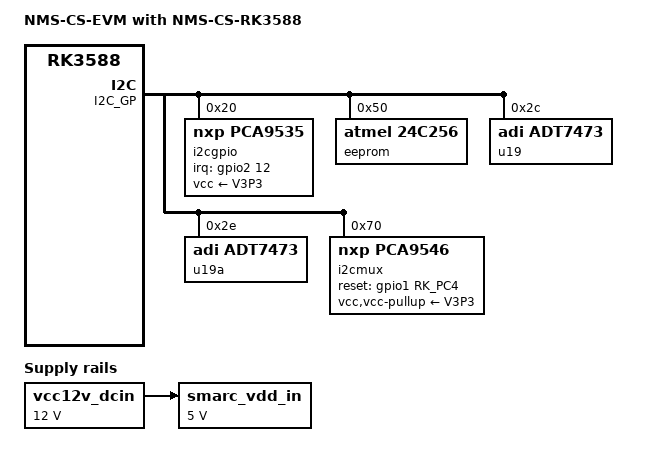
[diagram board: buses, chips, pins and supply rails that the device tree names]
// SPDX-License-Identifier: (GPL-2.0+ OR MIT)
/*
 * Copyright (c) 2023 Rockchip Electronics Co., Ltd.
 * Copyright (c) 2024 InMys Limited
 *
 */

/dts-v1/;

#include "rk3588-inmys-cs_v2.dtsi"

/ {
	model = "NMS-CS-EVM with NMS-CS-RK3588";
	compatible = "inmys,rk3588-cs-evm", "inmys,rk3588-inmys-cs", "rockchip,rk3588";

	vcc12v_dcin: vcc12v-dcin {
		compatible = "regulator-fixed";
		regulator-name = "vcc12v_dcin";
		regulator-always-on;
		regulator-boot-on;
		regulator-min-microvolt = <12000000>;
		regulator-max-microvolt = <12000000>;
	};
	smarc_vdd_in: smarc-vdd-in {
		/* 3.0...5.25V main power input for som(from mother board) */
		compatible = "regulator-fixed";
		regulator-name = "SMARC_VDD_IN";
		regulator-always-on;
		regulator-boot-on;
		regulator-min-microvolt = <5000000>;
		regulator-max-microvolt = <5000000>;
		vin-supply = <&vcc12v_dcin>;
	};
};



/* SMARC: I2C_GP */
&I2C_GP {
	i2cgpio: pca9535@20 {
		compatible = "nxp,pca9535";
		vcc-supply = <&V3P3>;
		reg = <0x20>;

		/* I2C_INT -> P111 (SMARTC  GPIO.3) -> gpio2_b4 */
		interrupt-parent = <&gpio2>;
		interrupts = <12 IRQ_TYPE_LEVEL_LOW>;
		interrupt-controller;
		#interrupt-cells = <2>;

		gpio-controller;
		#gpio-cells = <2>;
		gpio-line-names =
			"DSI0_TP_RST_N","DSI1_TP_RST_N","DSI0_RST_N","DSI1_RST_N","CAM0_PWDN","I2C_GPIO05","I2C_GPIO06","I2C_GPIO07",
			"I2C_GPIO10","I2C_GPIO11","I2C_GPIO12","I2C_GPIO13","I2C_GPIO14","I2C_GPIO15","I2C_GPIO16","I2C_GPIO17";
		cam_pwd {
		        gpio-hog;
		        gpios = <4 GPIO_ACTIVE_HIGH>;
		        output-high;
		};
	};
	eeprom: 24aa025e48@50{
		compatible = "atmel,24c256";
		reg = <0x50>;
	};
	/* one of: 0x2c or 0x2e on board */
        /* fan control */
	u19: adt7473@2c {
		compatible = "adi,adt7473";
		reg = <0x2c>;
		adi,bypass-attenuator-in0 = <1>;
		adi,bypass-attenuator-in1 = <1>;
		adi,bypass-attenuator-in2 = <1>;
		adi,bypass-attenuator-in3 = <1>;
		adi,pwm-active-state = <1 1 1>;
	};
        /* fan control2*/
	u19a: adt7473@2e {
		compatible = "adi,adt7473";
		reg = <0x2e>;
		adi,bypass-attenuator-in0 = <1>;
		adi,bypass-attenuator-in1 = <1>;
		adi,bypass-attenuator-in2 = <1>;
		adi,bypass-attenuator-in3 = <1>;
		adi,pwm-active-state = <1 1 1>;
	};

	i2cmux: pca9546a@70 {
		compatible = "nxp,pca9546";
		reg = <0x70>;
		#address-cells = <1>;
		#size-cells = <0>;
		vcc-supply = <&V3P3>;
		vcc-pullup-supply = <&V3P3>;
 
		/* gpio1_c4 -> P108 (SMARC GPIO.0) -> I2C_MUX_RST */
		reset-gpios = <&gpio1 RK_PC4 GPIO_ACTIVE_HIGH>;
		
		i2c@0 { /*I2C_DSI1 -> to X25*/
			reg = <0>;
			#address-cells = <1>; 
			#size-cells = <0>;
		};
		i2c@1 { /*I2C_DSI0 -> to X24*/
			reg = <0>;
			#address-cells = <1>; 
			#size-cells = <0>;
		};
		i2c@2 { /*I2C_GP_A -> to X32*/
			reg = <0>;
			#address-cells = <1>; 
			#size-cells = <0>;
		};
		i2c@3 { /*I2C_MPCI -> to minipcie connector*/
			reg = <0>;
			#address-cells = <1>; 
			#size-cells = <0>;
		};
		
	};
};

